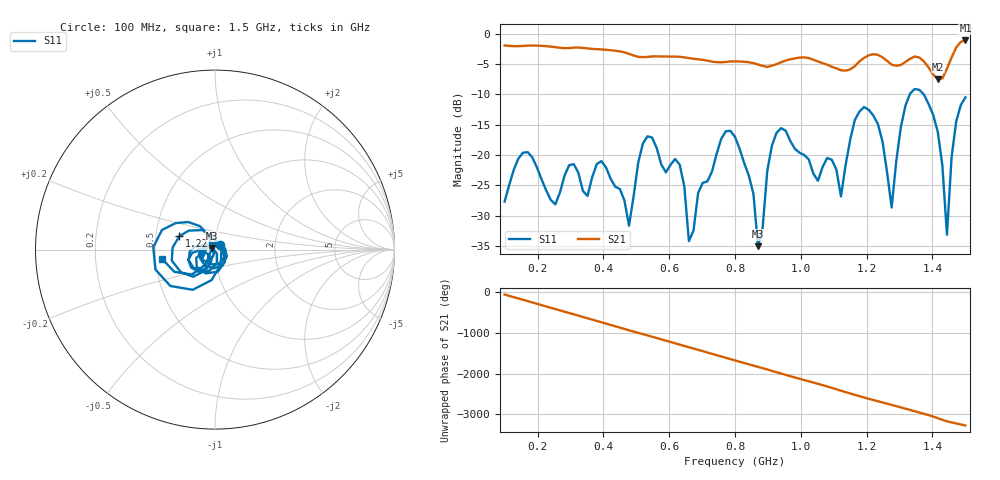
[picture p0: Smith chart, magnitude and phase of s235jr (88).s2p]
! NanoVNA-App
! Date: 2025-09-26 09:45:28
! Start: 100MHz Stop: 1,5GHz Points: 101
! S-Parameter data: F S11 S21 S12 S22
# Hz S RI R 50
!  Frequency  S11_Real  S11_Imag  S21_Real  S21_Imag  S12_Real  S12_Imag  S22_Real  S22_Imag
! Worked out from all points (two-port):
!   101 points, 100 MHz to 1.5 GHz, reference 50 ohm
!   highest |S21| = -1.14 dB at 1.5 GHz (marker M1); lowest = -7.5 dB at 1.416 GHz (marker M2)
!   |S21| within 3 dB of the highest: start of sweep to 672.5 MHz; 1.189 GHz to 1.253 GHz (64.57 MHz wide, 5.29 % of centre)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
!   lowest |S11| = -35.0 dB at 870 MHz (marker M3), VSWR 1.04, Z = 48.5 + j0.943 ohm
!   |S11| at or under -10 dB: start of sweep to 1.331 GHz; 1.373 GHz to end of sweep
!   S12 and S22 are empty: the file has one direction only
!   S11 on the Smith chart (normalised r, x): 100 MHz: 1.06, +0.06; 1.22 GHz: 0.66, +0.10; 1.5 GHz: 0.54, -0.06
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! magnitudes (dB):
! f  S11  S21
! 100 MHz  -27.6  -2.0
! 156 MHz  -19.6  -2.0
! 338 MHz  -25.9  -2.4
! 394 MHz  -21.0  -2.6
! 478 MHz  -31.6  -3.3
! 520 MHz  -18.1  -3.9
! 576 MHz  -21.5  -3.8
! 632 MHz  -21.6  -3.8
! 660 MHz  -34.2  -4.0
! 800 MHz  -17.0  -4.6
! 870 MHz  -35.0  -5.1
! 926 MHz  -16.4  -5.0
! 1.038 GHz  -23.1  -4.3
! 1.122 GHz  -26.8  -6.0
! 1.164 GHz  -14.2  -5.4
! 1.22 GHz  -13.5  -3.4
! 1.276 GHz  -28.6  -5.1
! 1.332 GHz  -9.9  -4.1
! 1.416 GHz  -16.1  -7.5
! 1.444 GHz  -33.1  -5.8
! 1.472 GHz  -14.5  -2.3
! 1.5 GHz  -10.5  -1.1
